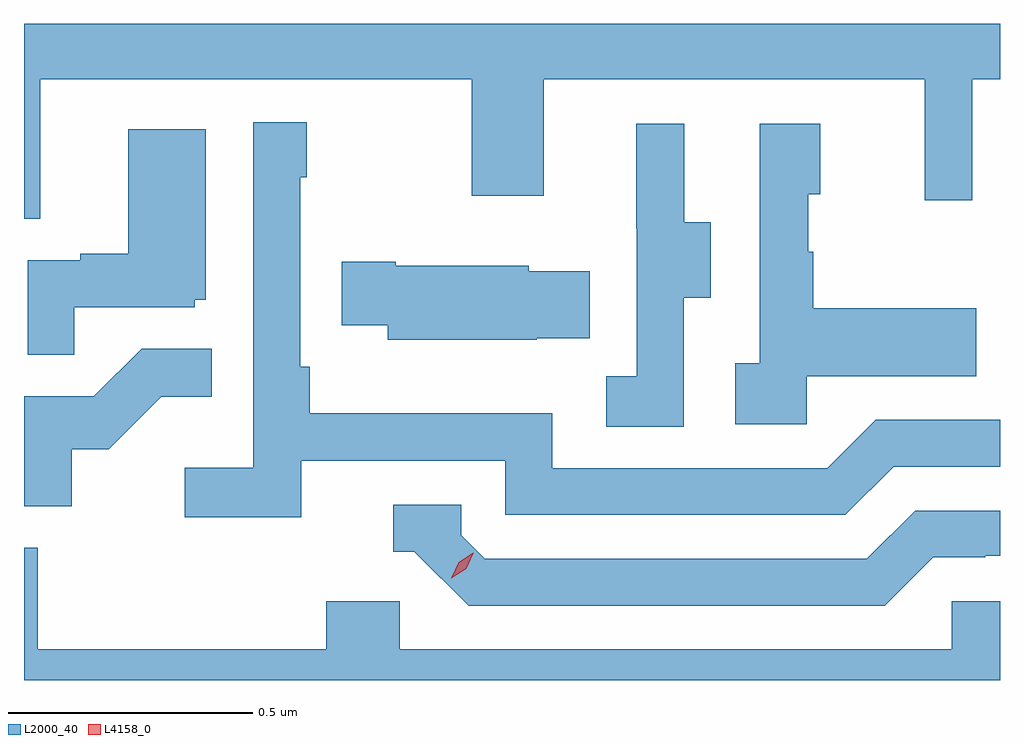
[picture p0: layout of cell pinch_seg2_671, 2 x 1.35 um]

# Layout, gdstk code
import gdstk
lib = gdstk.Library(unit=1e-6, precision=1e-09)
def P(c, l, *ps):  # polygons
    for p in ps: c.add(gdstk.Polygon(p, *l))
L2000_40 = (2000, 40)
L4158_0 = (4158, 0)

pinch_seg2_671 = lib.new_cell('pinch_seg2_671')
P(pinch_seg2_671, L2000_40, [(1042.951,585.032),(1043.836,585.032),(1043.836,584.793),(1043.983,584.793),(1043.983,585.032),(1044.764,585.032),(1044.764,584.784),(1044.861,584.784),(1044.861,585.032),(1044.918,585.032),(1044.918,585.146),(1042.918,585.146),(1042.918,584.746),(1042.951,584.746)],
  [(1043.486,584.25),(1043.904,584.25),(1043.904,584.139),(1044.601,584.139),(1044.7,584.238),(1044.918,584.238),(1044.918,584.334),(1044.663,584.334),(1044.564,584.235),(1044,584.235),(1044,584.347),(1043.504,584.347),(1043.504,584.443),(1043.484,584.443),(1043.484,584.831),(1043.497,584.831),(1043.497,584.944),(1043.388,584.944),(1043.388,584.236),(1043.247,584.236),(1043.247,584.134),(1043.486,584.134)],
  [(1044.27,584.584),(1044.325,584.584),(1044.325,584.739),(1044.271,584.739),(1044.271,584.941),(1044.173,584.941),(1044.173,584.727),(1044.174,584.727),(1044.174,584.423),(1044.111,584.423),(1044.111,584.32),(1044.27,584.32)],
  [(1044.522,584.423),(1044.869,584.423),(1044.869,584.563),(1044.535,584.563),(1044.535,584.678),(1044.525,584.678),(1044.525,584.796),(1044.55,584.796),(1044.55,584.941),(1044.426,584.941),(1044.426,584.45),(1044.375,584.45),(1044.375,584.325),(1044.522,584.325)],
  [(1043.021,584.565),(1043.268,584.565),(1043.268,584.58),(1043.29,584.58),(1043.29,584.929),(1043.132,584.929),(1043.132,584.674),(1043.033,584.674),(1043.033,584.661),(1042.926,584.661),(1042.926,584.467),(1043.021,584.467)],
  [(1043.969,584.501),(1044.077,584.501),(1044.077,584.638),(1043.952,584.638),(1043.952,584.65),(1043.68,584.65),(1043.68,584.658),(1043.569,584.658),(1043.569,584.528),(1043.663,584.528),(1043.663,584.498),(1043.969,584.498)],
  [(1043.016,584.274),(1043.092,584.274),(1043.199,584.381),(1043.303,584.381),(1043.303,584.48),(1043.159,584.48),(1043.061,584.382),(1042.918,584.382),(1042.918,584.157),(1043.016,584.157)],
  [(1044.781,584.052),(1044.888,584.052),(1044.888,584.055),(1044.918,584.055),(1044.918,584.148),(1044.744,584.148),(1044.645,584.049),(1043.862,584.049),(1043.814,584.097),(1043.814,584.16),(1043.675,584.16),(1043.675,584.064),(1043.718,584.064),(1043.829,583.953),(1044.682,583.953)],
  [(1044.918,583.962),(1044.819,583.962),(1044.819,583.864),(1043.688,583.864),(1043.688,583.962),(1043.537,583.962),(1043.537,583.864),(1042.946,583.864),(1042.946,584.072),(1042.918,584.072),(1042.918,583.8),(1044.918,583.8)])
P(pinch_seg2_671, L4158_0, [(1043.793,584.009),(1043.793,584.009),(1043.809,584.042),(1043.839,584.062),(1043.839,584.062),(1043.839,584.061),(1043.824,584.029),(1043.793,584.009)])

lib.write_gds('pinch_seg2_671.gds')
